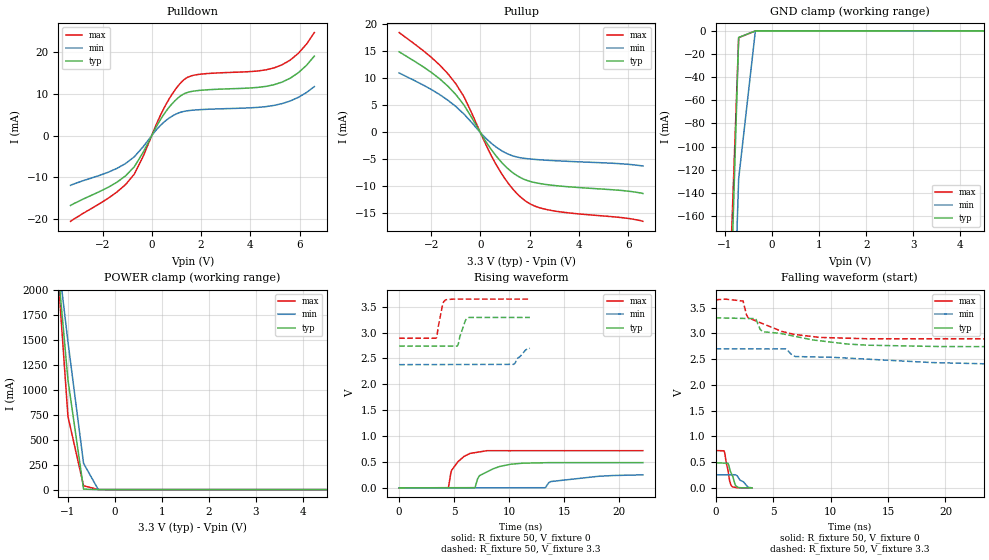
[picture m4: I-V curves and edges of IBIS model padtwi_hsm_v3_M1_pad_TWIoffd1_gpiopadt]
| [Disclaimer]
| (C) Copyright ATMEL Nantes 2002-2015
| Atmel Nantes makes no warranty for the use of its products, other than
| those expressly contained in the Company's standard warranty which is detailed
| in Atmel's Terms and Conditions located on the Company's web site. The Company
| assumes no responsability for any errors which may appear in this document.
| The user is granted this license only to use the IBIS model and is not granted
| rights to sell, load, rent, lease or license the IBIS model in whole or in part,
| or in modified form to anyone other than user. User may modify the IBIS model
| to suit its specific applications but rights to derivative works and such
| modifications shall belong to Atmel Nantes.
| This IBIS model is provided on an \"AS IS\" basis and Atmel Nantes makes
| absolutely no warranty with respect to the information contained herein.
| [Copyright] Copyright (c) 2002-2015 by ATMEL Nantes SA
| From samda1_3t48.ibs, SAMD21_TQFP48, ATMEL Nantes SAS
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|   MODEL : padtwi_hsm_v3_M1_pad_TWIoffd1_gpiopadt
[Model] padtwi_hsm_v3_M1_pad_TWIoffd1_gpiopadt
Model_type I/O
Vinl  =  0.99
Vinh  =  2.31
Vmeas =  1.650
| Capacitance   typ   min   max
C_comp   2.36291568293e-12   2.32408753346e-12   2.43079406038e-12
| Variables   typ   min   max
[GND Clamp Reference]   0   0   0
[POWER Clamp Reference]   3.3   2.7   3.65
[Pulldown Reference]   0   0   0
[Pullup Reference]   3.3   2.7   3.65
[Temperature Range]   25   125   -40
[Voltage Range]   3.3   2.7   3.65
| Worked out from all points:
|   slope of the pulldown table from 0 to 0.495 V, typ, clamps not added: 96.6 ohm
|   slope of the pullup table from 0 to 0.495 V, typ, clamps not added: 143 ohm
|   falling waveform, R_fixture 50, V_fixture 0: 20-80 % time 449ps typ, 704ps min, 347ps max; typ from 0.488 V to 0.002 V
|   falling waveform, R_fixture 50, V_fixture 3.3: 20-80 % time 5.45ns typ, 11.3ns min, 3.14ns max; typ from 3.3 V to 2.74 V
|   rising waveform, R_fixture 50, V_fixture 0: 20-80 % time 1.81ns typ, 3.73ns min, 1.13ns max; typ from 0 V to 0.488 V
|   rising waveform, R_fixture 50, V_fixture 3.3: 20-80 % time 490ps typ, 757ps min, 404ps max; typ from 2.74 V to 3.29 V
[GND Clamp]
| Voltage   I(typ)   I(min)   I(max)
-3.3V     -4.288A    -3.569A    -5.225A
-1.064V   -482mA     -569.2mA   -405mA
-709.1mV  -5.649mA   -127.8mA   -5.822mA
-354.5mV  -11.29uA   -35.33uA   -10.56uA
6.6V      0A         0A         0A
[POWER Clamp]
| Voltage   I(typ)   I(min)   I(max)
-3.3V     13.48A     10.93A     16.51A
-1.327V   2.843A     2.81A      2.962A
-995.5mV  1.1A       1.483A     734.4mA
-663.6mV  5.056mA    263.2mA    38.36mA
-350mV    102.6uA    153.5uA    658.2uA
6.6V      0A         0A         0A
[Pulldown]
| Voltage   I(typ)   I(min)   I(max)
-3.3V     -16.81mA   -11.98mA   -20.62mA
-1.418V   -11.24mA   -7.909mA   -13.6mA
-709.1mV  -7.507mA   -5.111mA   -9.27mA
-354.5mV  -4.075mA   -2.733mA   -5.068mA
515.6mV   5.306mA    3.327mA    6.796mA
928.1mV   8.286mA    4.999mA    10.83mA
1.341V    10.12mA    5.842mA    13.58mA
1.959V    10.87mA    6.222mA    14.73mA
4.959V    12.21mA    7.236mA    16.25mA
5.623V    13.79mA    8.31mA     18.15mA
5.955V    15.12mA    9.189mA    19.78mA
6.6V      19.1mA     11.76mA    24.76mA
[Pullup]
| Voltage   I(typ)   I(min)   I(max)
-3.3V     14.93mA    11.01mA    18.5mA
-1.991V   11.1mA     7.928mA    13.89mA
-1.327V   8.583mA    5.963mA    10.9mA
-995.5mV  6.986mA    4.768mA    8.985mA
-663.6mV  5.027mA    3.359mA    6.562mA
206.2mV   -1.618mA   -1.044mA   -2.121mA
670.3mV   -4.574mA   -2.846mA   -6.242mA
1.238V    -7.224mA   -4.257mA   -10.1mA
1.753V    -8.69mA    -4.818mA   -12.48mA
2.217V    -9.342mA   -5.041mA   -13.71mA
2.888V    -9.821mA   -5.244mA   -14.52mA
6.6V      -11.36mA   -6.256mA   -16.52mA
[Ramp]
dV/dt_r   0.29303/1.81827n  0.153451/3.86689n  0.435885/1.16791n
dV/dt_f   0.33636/5.54584n  0.191811/11.4272n  0.455658/3.16737n
R_load = 50
[Falling Waveform]
R_fixture = 50
V_fixture = 0
V_fixture_min = 0
V_fixture_max = 0
| Time   V(typ)   V(min)   V(max)
0s        488.4mV    255.8mV    726.5mV
737.2ps   483mV      256.1mV    720.5mV
1.071ns   480.6mV    256.3mV    354.8mV
1.216ns   381.5mV    256.4mV    143.9mV
1.34ns    298.2mV    256.5mV    54.21mV
1.471ns   234.8mV    256.5mV    21.27mV
1.69ns    71.36mV    256.6mV    12.53mV
1.967ns   10.21mV    206mV      2.66mV
2.768ns   2.299mV    27.74mV    2.654mV
3.166ns   2.296mV    2.407mV    2.651mV
[Falling Waveform]
R_fixture = 50
V_fixture = 3.3
V_fixture_min = 2.7
V_fixture_max = 3.65
| Time   V(typ)   V(min)   V(max)
0s        3.3V       2.7V       3.65V
2.395ns   3.289V     2.699V     3.626V
2.832ns   3.288V     2.699V     3.301V
3.494ns   3.285V     2.698V     3.242V
4.116ns   3.031V     2.698V     3.186V
6.1ns     2.978V     2.697V     3.019V
6.943ns   2.94V      2.549V     2.976V
9.077ns   2.855V     2.54V      2.92V
13.23ns   2.769V     2.498V     2.894V
35.58ns   2.742V     2.383V     2.894V
[Rising Waveform]
R_fixture = 50
V_fixture = 0
V_fixture_min = 0
V_fixture_max = 0
| Time   V(typ)   V(min)   V(max)
0s        28.15nV    454.4nV    25.37nV
4.467ns   2.371mV    857.5uV    2.805mV
4.784ns   2.54mV     918.5uV    342.9mV
5.356ns   2.843mV    1.028mV    506.4mV
6.905ns   3.665mV    1.325mV    681mV
7.304ns   234.3mV    1.402mV    694.6mV
7.986ns   307.3mV    1.533mV    718mV
11.27ns   477mV      2.162mV    718.1mV
18.08ns   487.6mV    222.4mV    718.2mV
22.18ns   487.6mV    251.5mV    718.3mV
[Rising Waveform]
R_fixture = 50
V_fixture = 3.3
V_fixture_min = 2.7
V_fixture_max = 3.65
| Time   V(typ)   V(min)   V(max)
0s        2.739V     2.38V      2.891V
3.344ns   2.74V      2.382V     2.891V
3.432ns   2.74V      2.382V     2.924V
3.962ns   2.74V      2.383V     3.545V
4.241ns   2.74V      2.383V     3.635V
5.308ns   2.748V     2.383V     3.646V
6.02ns    3.228V     2.384V     3.646V
6.365ns   3.292V     2.384V     3.646V
10.43ns   3.292V     2.386V     3.646V
11.9ns    3.292V     2.697V     3.646V
